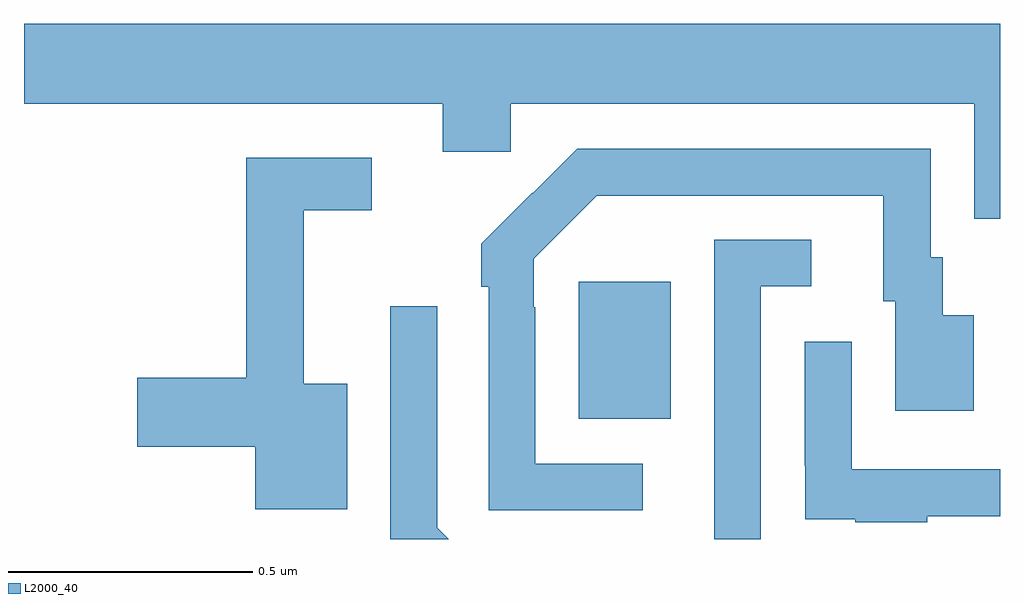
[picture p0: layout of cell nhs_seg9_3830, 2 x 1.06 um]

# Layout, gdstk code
import gdstk
lib = gdstk.Library(unit=1e-6, precision=1e-09)
def R(c, l, rs):  # rectangles x0, y0, x1, y1
    for r in rs: c.add(gdstk.rectangle(r[:2], r[2:], *l))
def P(c, l, *ps):  # polygons
    for p in ps: c.add(gdstk.Polygon(p, *l))
L2000_40 = (2000, 40)

nhs_seg9_3830 = lib.new_cell('nhs_seg9_3830')
R(nhs_seg9_3830, L2000_40, [(159.137,1223.747,159.325,1224.028)])
P(nhs_seg9_3830, L2000_40, [(160,1224.556),(158,1224.556),(158,1224.392),(158.858,1224.392),(158.858,1224.294),(158.997,1224.294),(158.997,1224.392),(159.947,1224.392),(159.947,1224.157),(160,1224.157)],
  [(159.268,1223.655),(159.048,1223.655),(159.048,1223.975),(159.045,1223.975),(159.045,1224.075),(159.174,1224.204),(159.761,1224.204),(159.761,1223.988),(159.785,1223.988),(159.785,1223.763),(159.946,1223.763),(159.946,1223.959),(159.883,1223.959),(159.883,1224.078),(159.858,1224.078),(159.858,1224.3),(159.134,1224.3),(159.043,1224.209),(159.042,1224.21),(158.937,1224.105),(158.937,1224.017),(158.952,1224.017),(158.952,1223.559),(159.268,1223.559)],
  [(158.662,1223.818),(158.573,1223.818),(158.573,1224.174),(158.713,1224.174),(158.713,1224.282),(158.455,1224.282),(158.455,1223.831),(158.232,1223.831),(158.232,1223.689),(158.474,1223.689),(158.474,1223.561),(158.662,1223.561)],
  [(159.51,1224.018),(159.613,1224.018),(159.613,1224.114),(159.414,1224.114),(159.414,1223.5),(159.51,1223.5)],
  [(158.847,1223.523),(158.847,1223.977),(158.751,1223.977),(158.751,1223.5),(158.87,1223.5)],
  [(159.851,1223.547),(160,1223.547),(160,1223.643),(159.696,1223.643),(159.696,1223.905),(159.6,1223.905),(159.6,1223.65),(159.601,1223.65),(159.601,1223.541),(159.703,1223.541),(159.703,1223.535),(159.851,1223.535)])

lib.write_gds('nhs_seg9_3830.gds')
